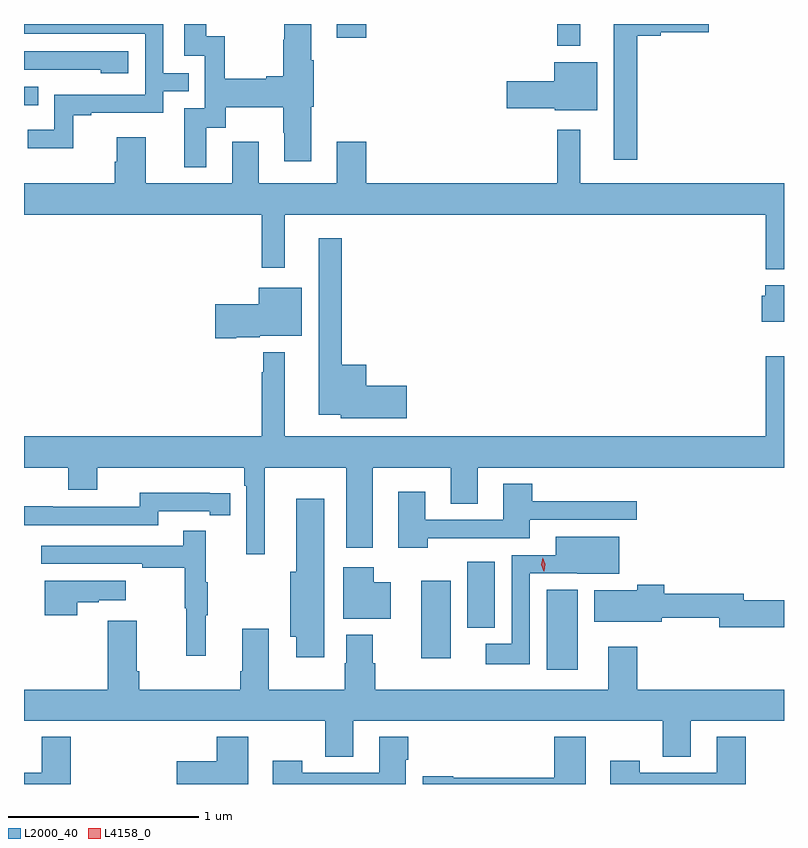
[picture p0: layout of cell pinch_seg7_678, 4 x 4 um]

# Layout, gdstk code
import gdstk
lib = gdstk.Library(unit=1e-6, precision=1e-09)
def R(c, l, rs):  # rectangles x0, y0, x1, y1
    for r in rs: c.add(gdstk.rectangle(r[:2], r[2:], *l))
def P(c, l, *ps):  # polygons
    for p in ps: c.add(gdstk.Polygon(p, *l))
L2000_40 = (2000, 40)
L4158_0 = (4158, 0)

pinch_seg7_678 = lib.new_cell('pinch_seg7_678')
R(pinch_seg7_678, L2000_40, [(336.929,1030.188,337.093,1030.609), (336.269,1030.248,336.424,1030.657), (336.512,1030.409,336.655,1030.756), (334.178,1033.16,334.253,1033.257), (336.984,1033.472,337.105,1033.587), (335.825,1033.515,335.978,1033.587)])
P(pinch_seg7_678, L2000_40, [(335.137,1033.042),(335.239,1033.042),(335.239,1033.148),(335.542,1033.148),(335.542,1033.014),(335.549,1033.014),(335.549,1032.864),(335.689,1032.864),(335.689,1033.152),(335.702,1033.152),(335.702,1033.396),(335.689,1033.396),(335.689,1033.587),(335.549,1033.587),(335.549,1033.505),(335.542,1033.505),(335.542,1033.313),(335.453,1033.313),(335.453,1033.3),(335.235,1033.3),(335.235,1033.523),(335.137,1033.523),(335.137,1033.587),(335.021,1033.587),(335.021,1033.419),(335.13,1033.419),(335.13,1033.143),(335.021,1033.143),(335.021,1032.834),(335.137,1032.834)],
  [(334.437,1033.107),(334.531,1033.107),(334.531,1033.119),(334.911,1033.119),(334.911,1033.233),(335.045,1033.233),(335.045,1033.329),(334.911,1033.329),(334.911,1033.587),(334.178,1033.587),(334.178,1033.536),(334.815,1033.536),(334.815,1033.215),(334.338,1033.215),(334.338,1033.03),(334.197,1033.03),(334.197,1032.932),(334.437,1032.932)],
  [(337.405,1033.526),(337.53,1033.526),(337.53,1033.544),(337.783,1033.544),(337.783,1033.587),(337.283,1033.587),(337.283,1032.873),(337.405,1032.873)],
  [(334.726,1033.443),(334.178,1033.443),(334.178,1033.347),(334.345,1033.347),(334.345,1033.346),(334.581,1033.346),(334.581,1033.328),(334.726,1033.328)],
  [(337.195,1033.387),(336.968,1033.387),(336.968,1033.286),(336.72,1033.286),(336.72,1033.144),(336.972,1033.144),(336.972,1033.133),(337.195,1033.133)],
  [(338.178,1032.748),(337.105,1032.748),(337.105,1033.03),(336.984,1033.03),(336.984,1032.748),(335.978,1032.748),(335.978,1032.967),(335.825,1032.967),(335.825,1032.748),(335.413,1032.748),(335.413,1032.967),(335.273,1032.967),(335.273,1032.748),(334.819,1032.748),(334.819,1032.991),(334.667,1032.991),(334.667,1032.861),(334.655,1032.861),(334.655,1032.748),(334.178,1032.748),(334.178,1032.584),(335.43,1032.584),(335.43,1032.303),(335.551,1032.303),(335.551,1032.584),(338.081,1032.584),(338.081,1032.296),(338.178,1032.296)],
  [(336.193,1031.684),(335.98,1031.684),(335.98,1031.794),(335.851,1031.794),(335.851,1032.46),(335.729,1032.46),(335.729,1031.531),(335.844,1031.531),(335.844,1031.513),(336.193,1031.513)],
  [(338.178,1032.211),(338.078,1032.211),(338.078,1032.156),(338.06,1032.156),(338.06,1032.02),(338.178,1032.02)],
  [(335.296,1031.939),(335.418,1031.939),(335.418,1031.945),(335.641,1031.945),(335.641,1032.199),(335.414,1032.199),(335.414,1032.111),(335.184,1032.111),(335.184,1031.933),(335.296,1031.933)],
  [(335.446,1031.252),(335.873,1031.252),(335.873,1030.83),(336.013,1030.83),(336.013,1031.252),(336.425,1031.252),(336.425,1031.062),(336.565,1031.062),(336.565,1031.252),(338.178,1031.252),(338.178,1031.839),(338.081,1031.839),(338.081,1031.416),(335.551,1031.416),(335.551,1031.86),(335.437,1031.86),(335.437,1031.753),(335.43,1031.753),(335.43,1031.416),(334.178,1031.416),(334.178,1031.252),(334.412,1031.252),(334.412,1031.135),(334.564,1031.135),(334.564,1031.252),(335.336,1031.252),(335.336,1031.156),(335.349,1031.156),(335.349,1030.797),(335.446,1030.797)],
  [(336.302,1030.881),(336.841,1030.881),(336.841,1030.977),(337.402,1030.977),(337.402,1031.074),(336.854,1031.074),(336.854,1031.167),(336.701,1031.167),(336.701,1030.977),(336.289,1030.977),(336.289,1031.125),(336.149,1031.125),(336.149,1030.83),(336.302,1030.83)],
  [(334.884,1031.022),(335.156,1031.022),(335.156,1031.002),(335.264,1031.002),(335.264,1031.118),(335.156,1031.118),(335.156,1031.119),(334.788,1031.119),(334.788,1031.046),(334.328,1031.046),(334.328,1031.048),(334.178,1031.048),(334.178,1030.95),(334.884,1030.95)],
  [(335.758,1031.089),(335.612,1031.089),(335.612,1030.705),(335.579,1030.705),(335.579,1030.361),(335.612,1030.361),(335.612,1030.254),(335.758,1030.254)],
  [(335.135,1030.475),(335.146,1030.475),(335.146,1030.649),(335.135,1030.649),(335.135,1030.921),(335.017,1030.921),(335.017,1030.842),(334.269,1030.842),(334.269,1030.746),(334.801,1030.746),(334.801,1030.726),(335.025,1030.726),(335.025,1030.512),(335.032,1030.512),(335.032,1030.263),(335.135,1030.263)],
  [(336.84,1030.695),(337.089,1030.695),(337.089,1030.694),(337.312,1030.694),(337.312,1030.888),(336.977,1030.888),(336.977,1030.791),(336.744,1030.791),(336.744,1030.324),(336.609,1030.324),(336.609,1030.217),(336.84,1030.217)],
  [(336.109,1030.648),(336.019,1030.648),(336.019,1030.729),(335.858,1030.729),(335.858,1030.457),(336.109,1030.457)],
  [(334.457,1030.543),(334.571,1030.543),(334.571,1030.553),(334.714,1030.553),(334.714,1030.657),(334.286,1030.657),(334.286,1030.476),(334.457,1030.476)],
  [(338.178,1030.553),(337.966,1030.553),(337.966,1030.589),(337.547,1030.589),(337.547,1030.636),(337.405,1030.636),(337.405,1030.606),(337.178,1030.606),(337.178,1030.442),(337.534,1030.442),(337.534,1030.461),(337.838,1030.461),(337.838,1030.411),(338.178,1030.411)],
  [(335.911,1029.92),(337.54,1029.92),(337.54,1029.73),(337.687,1029.73),(337.687,1029.92),(338.178,1029.92),(338.178,1030.084),(337.406,1030.084),(337.406,1030.309),(337.253,1030.309),(337.253,1030.084),(336.026,1030.084),(336.026,1030.223),(336.013,1030.223),(336.013,1030.372),(335.873,1030.372),(335.873,1030.223),(335.866,1030.223),(335.866,1030.084),(335.467,1030.084),(335.467,1030.405),(335.327,1030.405),(335.327,1030.18),(335.315,1030.18),(335.315,1030.084),(334.784,1030.084),(334.784,1030.18),(334.771,1030.18),(334.771,1030.447),(334.619,1030.447),(334.619,1030.084),(334.178,1030.084),(334.178,1029.92),(335.764,1029.92),(335.764,1029.73),(335.911,1029.73)],
  [(334.424,1029.835),(334.271,1029.835),(334.271,1029.645),(334.178,1029.645),(334.178,1029.587),(334.424,1029.587)],
  [(336.187,1029.715),(336.2,1029.715),(336.2,1029.835),(336.047,1029.835),(336.047,1029.645),(335.643,1029.645),(335.643,1029.709),(335.487,1029.709),(335.487,1029.587),(336.187,1029.587)],
  [(335.359,1029.835),(335.192,1029.835),(335.192,1029.706),(334.983,1029.706),(334.983,1029.587),(335.359,1029.587)],
  [(337.135,1029.835),(336.968,1029.835),(336.968,1029.619),(336.438,1029.619),(336.438,1029.627),(336.276,1029.627),(336.276,1029.587),(337.135,1029.587)],
  [(337.976,1029.835),(337.823,1029.835),(337.823,1029.645),(337.419,1029.645),(337.419,1029.709),(337.263,1029.709),(337.263,1029.587),(337.976,1029.587)])
P(pinch_seg7_678, L4158_0, [(336.914,1030.707),(336.914,1030.707),(336.901,1030.742),(336.908,1030.779),(336.908,1030.779),(336.908,1030.779),(336.921,1030.744),(336.915,1030.707)])

lib.write_gds('pinch_seg7_678.gds')
